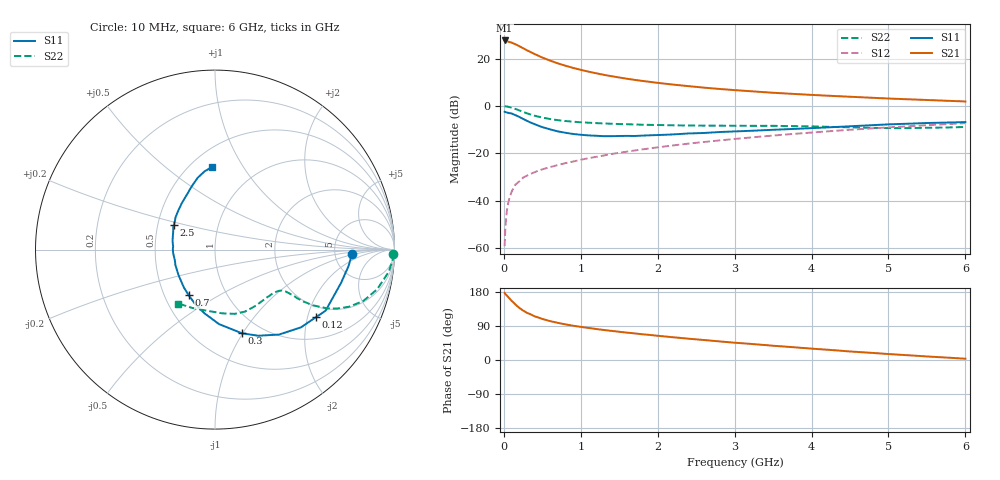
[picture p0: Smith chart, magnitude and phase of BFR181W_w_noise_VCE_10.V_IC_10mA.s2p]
! Infineon Technologies  Discrete & RF Semiconductors
! BFR181W
! VCE =  10. V,  IC =  10 mA
! Common Emitter S-Parameters:  Jan 2017
# GHz  S  MA  R  50
!  f  S11  S21  S12  S22
! GHz  MAG  ANG  MAG  ANG  MAG  ANG  MAG  ANG
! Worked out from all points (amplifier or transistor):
!   77 points, 10 MHz to 6 GHz, reference 50 ohm
!   highest |S21| = 27.7 dB at 10 MHz (marker M1)
!   |S21| within 3 dB of that: start of sweep to 234.4 MHz
!   unconditionally stable (mu >= 1): 1.082 GHz to 3.061 GHz
!   at 130 MHz: K = 0.27, MSG = 30.4 dB, |S12| = -34.3 dB
!   at 2.2 GHz: K = 1.05, MAG = 11.4 dB, |S12| = -16.6 dB
!   at 6 GHz: K = 0.86, MSG = 4.6 dB, |S12| = -7.2 dB
!   lowest NFmin = 1.24 dB at 450 MHz
!   S11 on the Smith chart (normalised r, x): 10 MHz: 7.36, -0.85; 120 MHz: 1.62, -2.26; 300 MHz: 0.81, -0.99; 700 MHz: 0.66, -0.37; 2.5 GHz: 0.61, +0.18; 6 GHz: 0.63, +0.74
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0.01  0.7637 -1.8  24.4 177.1  0.0011 82.5  0.9923 -1.3
0.02  0.7498 -7.0  23.94 174.1  0.0027 88.3  0.9938 -2.7
0.06  0.7188 -17.4  23 165.5  0.0094 79.3  0.966 -8.5
0.1  0.704 -28.9  22 156.3  0.0153 76.4  0.9301 -13.8
0.12  0.6765 -33.9  21.26 152.6  0.0179 73.4  0.9064 -15.9
0.15  0.6459 -42.1  20.33 146.5  0.0219 70.3  0.8732 -19.2
0.2  0.5927 -53.0  18.45 137.7  0.0256 68.6  0.8118 -23.1
0.25  0.5368 -63.4  16.76 130.5  0.0309 64.8  0.7548 -25.8
0.3  0.4889 -72.3  15.14 124.5  0.034 63.5  0.7038 -27.7
0.4  0.4158 -86.9  12.59 115.2  0.0402 62.0  0.6263 -29.7
0.5  0.3603 -99.2  10.62 108.3  0.0462 61.6  0.5725 -30.4
0.6  0.3232 -110.0  9.17 102.7  0.0514 61.7  0.5335 -30.6
0.7  0.2933 -119.9  8.024 98.1  0.0568 63.2  0.5058 -30.4
0.9  0.2582 -136.9  6.421 90.5  0.0675 64.3  0.469 -30.6
1.1  0.2408 -151.7  5.356 84.6  0.0794 65.7  0.4465 -31.0
1.5  0.2339 -175.1  4.023 74.5  0.1032 66.6  0.4183 -33.7
2.1  0.2484 160.5  2.974 62.0  0.1412 66.0  0.3961 -41.2
2.5  0.2674 148.7  2.551 54.5  0.168 64.8  0.3883 -47.7
3.1  0.2963 134.2  2.123 44.2  0.2096 62.0  0.3842 -57.7
4.1  0.3488 115.9  1.695 28.6  0.2844 55.7  0.37 -75.0
5.1  0.4169 102.3  1.427 14.5  0.3632 47.6  0.3429 -99.6
6  0.4601 92.0  1.254 3.4  0.4363 39.4  0.3629 -124.1
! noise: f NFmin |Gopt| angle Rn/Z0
0.45  1.24  0.15  16  0.21
0.9  1.29  0.14  31  0.21
1.9  1.71  0.03  142  0.2
2.4  1.88  0.02  -166  0.24
